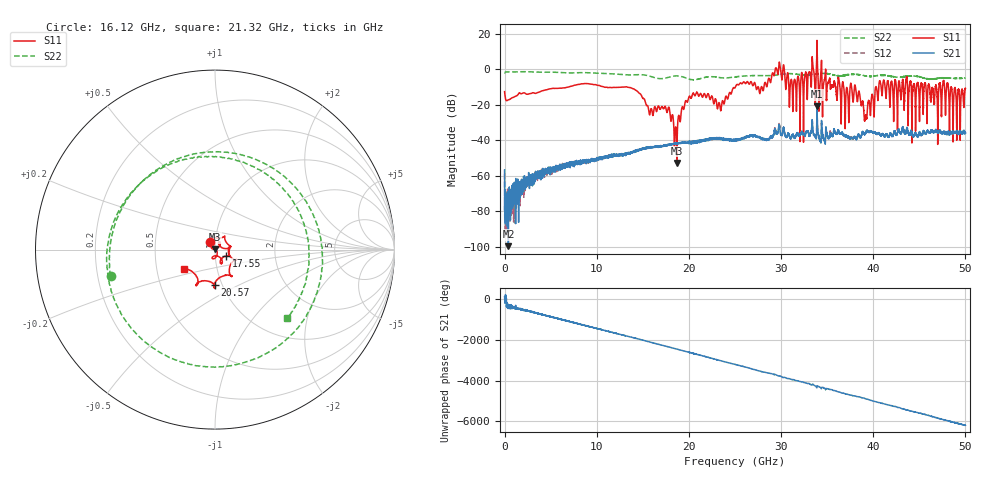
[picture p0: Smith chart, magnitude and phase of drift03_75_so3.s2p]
!Created with skrf (http://scikit-rf.org).
# Hz S RI R 50.0
!freq ReS11 ImS11 ReS21 ImS21 ReS12 ImS12 ReS22 ImS22
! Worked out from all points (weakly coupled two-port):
!   10001 points, 300 kHz to 50 GHz, reference 50 ohm
!   highest |S21| = -20.72 dB at 33.9 GHz (marker M1); lowest = -99.6 dB at 410.3 MHz (marker M2)
!   lowest |S11| = -52.7 dB at 18.7 GHz (marker M3), VSWR 1.00, Z = 50 + j0.23 ohm
!   |S11| at or under -10 dB: start of sweep to 6.942 GHz; 13.32 GHz to 25.04 GHz (11.72 GHz wide, 61.1 % of centre); 38.07 GHz to 40.26 GHz (2.181 GHz wide, 5.57 % of centre) (the widest 3 of 48)
!   |S22| runs from -5.9 to -1.3 dB; largest |S21 - S12| = 0.0075
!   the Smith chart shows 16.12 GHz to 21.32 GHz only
!   S11 on the Smith chart (normalised r, x): 16.12 GHz: 0.94, +0.08; 17.55 GHz: 1.13, -0.08; 20.57 GHz: 0.92, -0.38; 21.32 GHz: 0.69, -0.16
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300000  -0.2107 -0.1045  -0.000934 0.00115  -0.000862 0.000801  -0.763 -0.196
4.102975e8  -0.0915 0.1042  7.47e-06 -7.39e-06  0.000138 -8.17e-05  -0.5692 0.6257
1.540291e9  0.2061 0.0414  -4.63e-05 -0.000469  -0.000122 -0.000445  0.85 0.0697
3.160281e9  -0.2188 -0.00868  -7.86e-06 0.000744  -0.000144 0.000758  -0.8444 -0.0252
4.665272e9  0.2634 0.0612  -5.36e-06 -0.00133  6.61e-05 -0.00138  0.819 0.1428
6.360262e9  -0.3001 0.000273  0.000378 0.00178  0.000605 0.00207  -0.8044 -0.044
8.33525e9  0.2842 -0.2675  -0.00252 -0.000877  -0.00215 -0.000883  0.6034 -0.5352
9.575243e9  -0.3719 -0.0483  0.00122 0.00242  0.00119 0.00257  -0.7861 -0.0966
1.124523e10  0.306 0.0238  -0.00213 -0.00253  -0.00229 -0.0024  0.7567 0.0212
1.61202e10  -0.0299 0.0424  0.00617 0.00198  0.00617 0.00234  -0.5812 -0.1488
1.66702e10  0.0536 0.0759  0.00452 -0.00469  0.00462 -0.00508  -0.3634 0.4165
1.754519e10  0.0617 -0.0358  -0.00628 -0.00367  -0.00624 -0.00375  0.5036 0.2741
1.869519e10  0.000328 0.0023  0.00222 0.00773  0.00239 0.00799  -0.089 -0.6486
2.056518e10  -0.00268 -0.1976  -0.00781 -0.00459  -0.00753 -0.00456  0.3657 0.3542
2.131517e10  -0.1718 -0.108  -0.00535 0.00839  -0.00459 0.00799  0.4015 -0.3803
2.500015e10  -0.2981 -0.0482  0.00761 0.0065  0.0077 0.00673  -0.1803 -0.5838
3.052012e10  0.231 -0.1502  -0.00207 0.013  -0.00155 0.013  0.744 -0.0682
3.213011e10  0.2018 0.3765  0.000121 -0.0149  -6.88e-05 -0.0153  -0.6964 0.00654
3.33351e10  0.484 -0.9978  -0.00621 0.0253  -0.00632 0.0247  0.6147 0.3689
3.38951e10  -0.9064 -6.441  0.0919 0.0054  0.0847 0.00492  0.6776 -0.3191
4.167005e10  -0.2255 0.2816  -0.0123 -0.00431  -0.0116 -0.00494  -0.6491 -0.0598
5e10  -0.1451 -0.2521  0.00185 -0.0161  0.000976 -0.0159  0.4729 -0.3111
